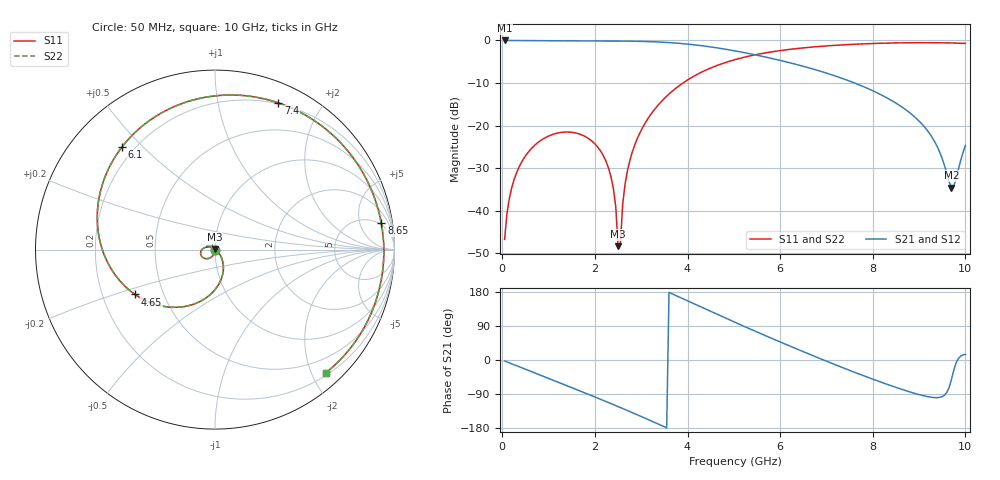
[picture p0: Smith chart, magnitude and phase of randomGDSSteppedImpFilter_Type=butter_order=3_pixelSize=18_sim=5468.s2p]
! freq	dB(S11)	phase(S11)	dB(S12)	phase(S12)
!  dB(S21)	phase(S21)	dB(S22)	phase(S22)
!S-par simulation data
#  GHz  S  DB  R 50
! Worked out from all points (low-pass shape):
!   200 points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, 50 MHz to 10 GHz, reference 50 ohm
!   highest |S21| = 0.00 dB at 50 MHz (marker M1); lowest = -34.6 dB at 9.7 GHz (marker M2)
!   |S21| within 3 dB of the highest: start of sweep to 5.292 GHz
!   lowest |S11| = -48.3 dB at 2.5 GHz (marker M3), VSWR 1.01, Z = 49.7 + j0.276 ohm
!   |S11| at or under -10 dB: start of sweep to 3.901 GHz
!   |S22| runs from -48.3 to -0.5 dB; largest |S21 - S12| = 0
!   S11 on the Smith chart (normalised r, x): 50 MHz: 1.00, -0.01; 4.65 GHz: 0.34, -0.23; 6.1 GHz: 0.15, +0.44; 7.4 GHz: 0.19, +1.50; 8.65 GHz: 4, +11; 10 GHz: 0.24, -2.22
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0.05  -46.75 -91.7  -0.00 -2.5  -0.00 -2.5  -46.75 -91.7
0.2  -34.76 -99.6  -0.02 -9.8  -0.02 -9.8  -34.76 -99.6
0.55  -26.39 -117.0  -0.04 -26.8  -0.04 -26.8  -26.39 -117.0
1.75  -22.35 -176.6  -0.12 -85.2  -0.12 -85.2  -22.35 -176.6
2.3  -30.21 154.9  -0.13 -112.6  -0.13 -112.6  -30.20 154.8
2.45  -39.10 144.4  -0.14 -120.3  -0.14 -120.3  -39.10 144.1
2.5  -48.33 133.5  -0.14 -122.9  -0.14 -122.9  -48.30 132.8
2.55  -47.89 -23.6  -0.15 -125.4  -0.15 -125.4  -47.87 -22.9
2.65  -33.83 -39.1  -0.16 -130.6  -0.16 -130.6  -33.83 -39.0
2.8  -26.47 -48.4  -0.18 -138.5  -0.18 -138.5  -26.47 -48.3
3.4  -14.76 -81.4  -0.38 -170.7  -0.38 -170.7  -14.76 -81.4
3.95  -9.64 -111.9  -0.81 158.8  -0.81 158.8  -9.64 -112.0
4.65  -5.83 -150.8  -1.77 119.9  -1.77 119.9  -5.83 -150.9
5.05  -4.43 -172.6  -2.50 98.0  -2.50 98.0  -4.43 -172.7
6.1  -2.24 132.0  -4.95 42.4  -4.95 42.4  -2.24 131.8
6.7  -1.54 101.3  -6.69 11.8  -6.69 11.8  -1.54 101.2
7.4  -1.01 66.7  -9.15 -22.6  -9.15 -22.6  -1.01 66.6
8.35  -0.61 22.3  -13.76 -66.0  -13.76 -66.0  -0.61 22.2
8.65  -0.55 9.0  -15.79 -78.4  -15.79 -78.4  -0.55 8.9
9.3  -0.53 -18.8  -23.10 -98.9  -23.10 -98.9  -0.53 -18.9
9.7  -0.60 -35.5  -34.56 -51.1  -34.56 -51.1  -0.60 -35.6
10  -0.69 -48.1  -24.66 15.0  -24.66 15.0  -0.69 -48.1
